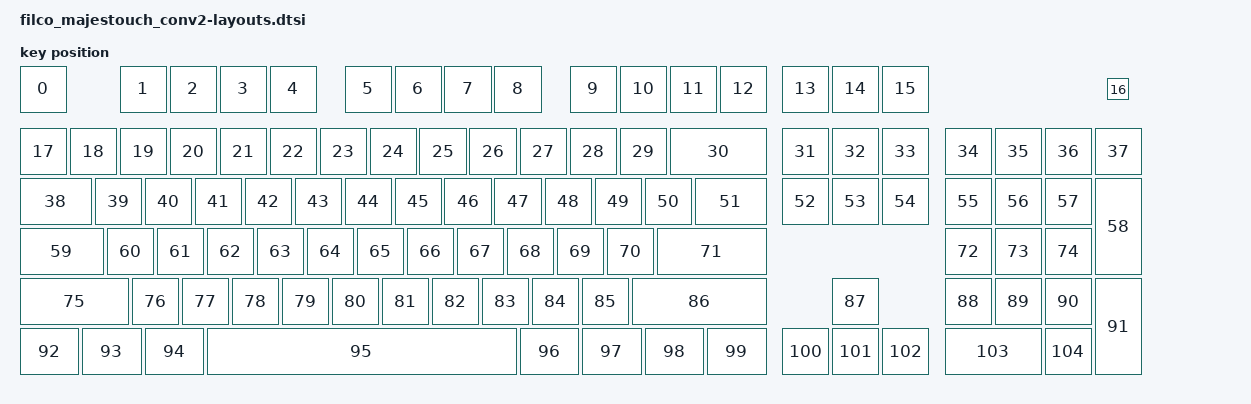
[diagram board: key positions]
#include <physical_layouts.dtsi>

/ {
    layout_ansi: layout_ansi {
        compatible = "zmk,physical-layout";
        display-name = "Default";

        kscan = <&kscan0>;
        transform = <&default_transform>;

        keys  //                     w   h    x    y     rot    rx    ry
            = <&key_physical_attrs 100 100    0    0       0     0     0>
            , <&key_physical_attrs 100 100  200    0       0     0     0>
            , <&key_physical_attrs 100 100  300    0       0     0     0>
            , <&key_physical_attrs 100 100  400    0       0     0     0>
            , <&key_physical_attrs 100 100  500    0       0     0     0>
            , <&key_physical_attrs 100 100  650    0       0     0     0>
            , <&key_physical_attrs 100 100  750    0       0     0     0>
            , <&key_physical_attrs 100 100  850    0       0     0     0>
            , <&key_physical_attrs 100 100  950    0       0     0     0>
            , <&key_physical_attrs 100 100 1100    0       0     0     0>
            , <&key_physical_attrs 100 100 1200    0       0     0     0>
            , <&key_physical_attrs 100 100 1300    0       0     0     0>
            , <&key_physical_attrs 100 100 1400    0       0     0     0>
            , <&key_physical_attrs 100 100 1525    0       0     0     0>
            , <&key_physical_attrs 100 100 1625    0       0     0     0>
            , <&key_physical_attrs 100 100 1725    0       0     0     0>
            , <&key_physical_attrs  50  50 2175   25       0     0     0>
            , <&key_physical_attrs 100 100    0  125       0     0     0>
            , <&key_physical_attrs 100 100  100  125       0     0     0>
            , <&key_physical_attrs 100 100  200  125       0     0     0>
            , <&key_physical_attrs 100 100  300  125       0     0     0>
            , <&key_physical_attrs 100 100  400  125       0     0     0>
            , <&key_physical_attrs 100 100  500  125       0     0     0>
            , <&key_physical_attrs 100 100  600  125       0     0     0>
            , <&key_physical_attrs 100 100  700  125       0     0     0>
            , <&key_physical_attrs 100 100  800  125       0     0     0>
            , <&key_physical_attrs 100 100  900  125       0     0     0>
            , <&key_physical_attrs 100 100 1000  125       0     0     0>
            , <&key_physical_attrs 100 100 1100  125       0     0     0>
            , <&key_physical_attrs 100 100 1200  125       0     0     0>
            , <&key_physical_attrs 200 100 1300  125       0     0     0>
            , <&key_physical_attrs 100 100 1525  125       0     0     0>
            , <&key_physical_attrs 100 100 1625  125       0     0     0>
            , <&key_physical_attrs 100 100 1725  125       0     0     0>
            , <&key_physical_attrs 100 100 1850  125       0     0     0>
            , <&key_physical_attrs 100 100 1950  125       0     0     0>
            , <&key_physical_attrs 100 100 2050  125       0     0     0>
            , <&key_physical_attrs 100 100 2150  125       0     0     0>
            , <&key_physical_attrs 150 100    0  225       0     0     0>
            , <&key_physical_attrs 100 100  150  225       0     0     0>
            , <&key_physical_attrs 100 100  250  225       0     0     0>
            , <&key_physical_attrs 100 100  350  225       0     0     0>
            , <&key_physical_attrs 100 100  450  225       0     0     0>
            , <&key_physical_attrs 100 100  550  225       0     0     0>
            , <&key_physical_attrs 100 100  650  225       0     0     0>
            , <&key_physical_attrs 100 100  750  225       0     0     0>
            , <&key_physical_attrs 100 100  850  225       0     0     0>
            , <&key_physical_attrs 100 100  950  225       0     0     0>
            , <&key_physical_attrs 100 100 1050  225       0     0     0>
            , <&key_physical_attrs 100 100 1150  225       0     0     0>
            , <&key_physical_attrs 100 100 1250  225       0     0     0>
            , <&key_physical_attrs 150 100 1350  225       0     0     0>
            , <&key_physical_attrs 100 100 1525  225       0     0     0>
            , <&key_physical_attrs 100 100 1625  225       0     0     0>
            , <&key_physical_attrs 100 100 1725  225       0     0     0>
            , <&key_physical_attrs 100 100 1850  225       0     0     0>
            , <&key_physical_attrs 100 100 1950  225       0     0     0>
            , <&key_physical_attrs 100 100 2050  225       0     0     0>
            , <&key_physical_attrs 100 200 2150  225       0     0     0>
            , <&key_physical_attrs 175 100    0  325       0     0     0>
            , <&key_physical_attrs 100 100  175  325       0     0     0>
            , <&key_physical_attrs 100 100  275  325       0     0     0>
            , <&key_physical_attrs 100 100  375  325       0     0     0>
            , <&key_physical_attrs 100 100  475  325       0     0     0>
            , <&key_physical_attrs 100 100  575  325       0     0     0>
            , <&key_physical_attrs 100 100  675  325       0     0     0>
            , <&key_physical_attrs 100 100  775  325       0     0     0>
            , <&key_physical_attrs 100 100  875  325       0     0     0>
            , <&key_physical_attrs 100 100  975  325       0     0     0>
            , <&key_physical_attrs 100 100 1075  325       0     0     0>
            , <&key_physical_attrs 100 100 1175  325       0     0     0>
            , <&key_physical_attrs 225 100 1275  325       0     0     0>
            , <&key_physical_attrs 100 100 1850  325       0     0     0>
            , <&key_physical_attrs 100 100 1950  325       0     0     0>
            , <&key_physical_attrs 100 100 2050  325       0     0     0>
            , <&key_physical_attrs 225 100    0  425       0     0     0>
            , <&key_physical_attrs 100 100  225  425       0     0     0>
            , <&key_physical_attrs 100 100  325  425       0     0     0>
            , <&key_physical_attrs 100 100  425  425       0     0     0>
            , <&key_physical_attrs 100 100  525  425       0     0     0>
            , <&key_physical_attrs 100 100  625  425       0     0     0>
            , <&key_physical_attrs 100 100  725  425       0     0     0>
            , <&key_physical_attrs 100 100  825  425       0     0     0>
            , <&key_physical_attrs 100 100  925  425       0     0     0>
            , <&key_physical_attrs 100 100 1025  425       0     0     0>
            , <&key_physical_attrs 100 100 1125  425       0     0     0>
            , <&key_physical_attrs 275 100 1225  425       0     0     0>
            , <&key_physical_attrs 100 100 1625  425       0     0     0>
            , <&key_physical_attrs 100 100 1850  425       0     0     0>
            , <&key_physical_attrs 100 100 1950  425       0     0     0>
            , <&key_physical_attrs 100 100 2050  425       0     0     0>
            , <&key_physical_attrs 100 200 2150  425       0     0     0>
            , <&key_physical_attrs 125 100    0  525       0     0     0>
            , <&key_physical_attrs 125 100  125  525       0     0     0>
            , <&key_physical_attrs 125 100  250  525       0     0     0>
            , <&key_physical_attrs 625 100  375  525       0     0     0>
            , <&key_physical_attrs 125 100 1000  525       0     0     0>
            , <&key_physical_attrs 125 100 1125  525       0     0     0>
            , <&key_physical_attrs 125 100 1250  525       0     0     0>
            , <&key_physical_attrs 125 100 1375  525       0     0     0>
            , <&key_physical_attrs 100 100 1525  525       0     0     0>
            , <&key_physical_attrs 100 100 1625  525       0     0     0>
            , <&key_physical_attrs 100 100 1725  525       0     0     0>
            , <&key_physical_attrs 200 100 1850  525       0     0     0>
            , <&key_physical_attrs 100 100 2050  525       0     0     0>
            ;
    };
    
    position_map {
        compatible = "zmk,physical-layout-position-map";

        layout_ansi {
            physical-layout = <&layout_ansi>;
            positions = <>;
        };
    };
};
